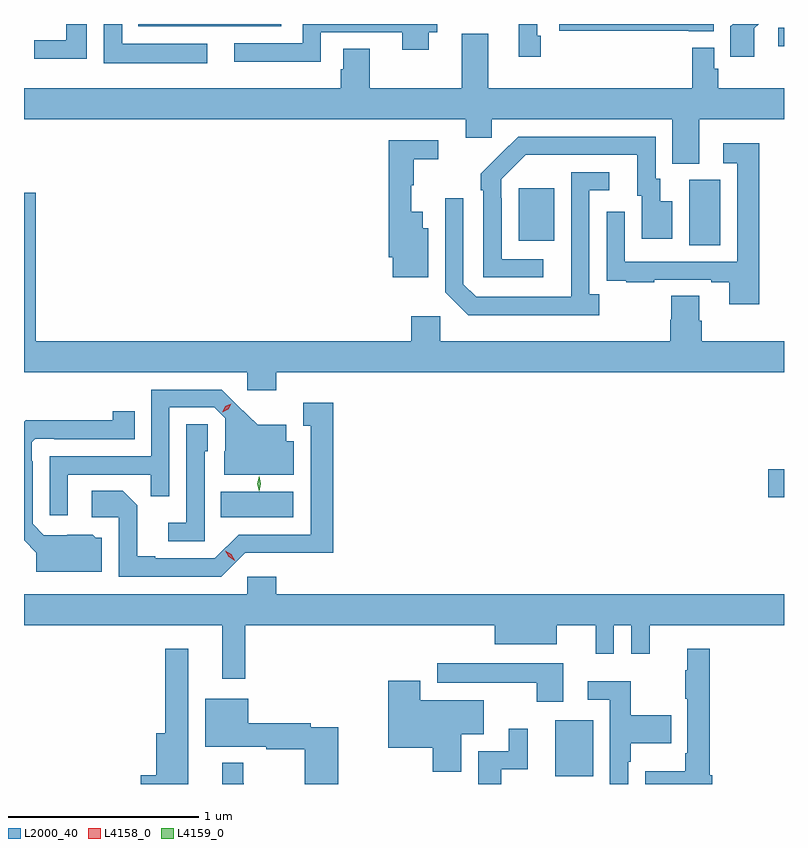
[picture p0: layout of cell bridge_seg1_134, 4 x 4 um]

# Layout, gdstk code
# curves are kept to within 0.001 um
import gdstk
lib = gdstk.Library(unit=1e-6, precision=1e-09)
def R(c, l, rs):  # rectangles x0, y0, x1, y1
    for r in rs: c.add(gdstk.rectangle(r[:2], r[2:], *l))
def P(c, l, *ps):  # polygons
    for p in ps: c.add(gdstk.Polygon(p, *l))
L2000_40 = (2000, 40)
L4158_0 = (4158, 0)
L4159_0 = (4159, 0)

bridge_seg1_134 = lib.new_cell('bridge_seg1_134')
R(bridge_seg1_134, L2000_40, [(375.335,573.581,375.535,573.877), (373.576,574.946,373.957,575.08), (376.458,575.051,376.54,575.198), (376.04,576.376,376.204,576.72), (375.143,576.401,375.331,576.676), (376.509,577.423,376.54,577.521), (373.141,577.53,373.893,577.541)])
P(bridge_seg1_134, L2000_40, [(374.103,577.497),(374.531,577.497),(374.531,577.406),(374.671,577.406),(374.671,577.497),(374.716,577.497),(374.716,577.541),(374.006,577.541),(374.006,577.44),(373.647,577.44),(373.647,577.343),(374.103,577.343)],
  [(376.384,577.519),(376.406,577.541),(376.269,577.541),(376.258,577.53),(376.258,577.368),(376.384,577.368)],
  [(376.171,577.541),(375.356,577.541),(375.356,577.506),(376.038,577.506),(376.038,577.502),(376.171,577.502)],
  [(375.26,577.48),(375.24,577.48),(375.24,577.541),(375.144,577.541),(375.144,577.368),(375.26,577.368)],
  [(372.87,577.541),(372.762,577.541),(372.762,577.455),(372.594,577.455),(372.594,577.358),(372.87,577.358)],
  [(373.504,577.438),(373.056,577.438),(373.056,577.541),(372.96,577.541),(372.96,577.334),(373.504,577.334)],
  [(376.093,577.04),(376.54,577.04),(376.54,577.204),(376.193,577.204),(376.193,577.305),(376.173,577.305),(376.173,577.417),(376.057,577.417),(376.057,577.204),(374.983,577.204),(374.983,577.489),(374.843,577.489),(374.843,577.204),(374.359,577.204),(374.359,577.412),(374.219,577.412),(374.219,577.302),(374.207,577.302),(374.207,577.204),(372.54,577.204),(372.54,577.04),(374.864,577.04),(374.864,576.942),(375.003,576.942),(375.003,577.04),(375.953,577.04),(375.953,576.805),(376.093,576.805)],
  [(375.274,576.303),(375.054,576.303),(375.054,576.623),(375.051,576.623),(375.051,576.723),(375.18,576.852),(375.767,576.852),(375.767,576.636),(375.791,576.636),(375.791,576.411),(375.952,576.411),(375.952,576.607),(375.889,576.607),(375.889,576.726),(375.864,576.726),(375.864,576.948),(375.14,576.948),(374.943,576.753),(374.943,576.665),(374.958,576.665),(374.958,576.207),(375.274,576.207)],
  [(374.668,576.466),(374.638,576.466),(374.638,576.553),(374.579,576.553),(374.579,576.693),(374.59,576.693),(374.59,576.829),(374.719,576.829),(374.719,576.93),(374.461,576.93),(374.461,576.313),(374.48,576.313),(374.48,576.209),(374.668,576.209)],
  [(376.409,576.913),(376.221,576.913),(376.221,576.807),(376.293,576.807),(376.293,576.291),(375.702,576.291),(375.702,576.553),(375.606,576.553),(375.606,576.298),(375.607,576.298),(375.607,576.189),(375.709,576.189),(375.709,576.183),(375.857,576.183),(375.857,576.195),(376.157,576.195),(376.157,576.183),(376.253,576.183),(376.253,576.066),(376.409,576.066)],
  [(375.568,576.118),(375.516,576.118),(375.516,576.666),(375.619,576.666),(375.619,576.762),(375.42,576.762),(375.419,576.105),(374.919,576.105),(374.853,576.171),(374.853,576.625),(374.757,576.625),(374.757,576.129),(374.878,576.008),(375.568,576.008)],
  [(373.868,575.708),(376.54,575.708),(376.54,575.872),(376.106,575.872),(376.106,575.978),(376.093,575.978),(376.093,576.11),(375.946,576.11),(375.946,575.985),(375.941,575.985),(375.941,575.872),(374.73,575.872),(374.73,576.004),(374.579,576.004),(374.579,575.872),(372.602,575.872),(372.602,576.652),(372.54,576.652),(372.54,575.708),(373.716,575.708),(373.716,575.613),(373.868,575.613)],
  [(372.771,575.169),(373.207,575.169),(373.207,575.056),(373.305,575.056),(373.305,575.523),(373.542,575.523),(373.599,575.466),(373.599,575.292),(373.595,575.292),(373.595,575.168),(373.96,575.168),(373.96,575.344),(373.921,575.344),(373.921,575.431),(373.769,575.431),(373.582,575.616),(373.209,575.616),(373.209,575.265),(372.675,575.265),(372.675,574.956),(372.771,574.956)],
  [(373.704,574.758),(374.167,574.757),(374.167,575.548),(374.009,575.548),(374.009,575.427),(374.048,575.427),(374.048,574.854),(373.671,574.854),(373.545,574.728),(373.231,574.728),(373.231,574.741),(373.137,574.741),(373.137,575.008),(373.061,575.084),(372.897,575.084),(372.897,574.944),(373.038,574.944),(373.038,574.632),(373.578,574.632)],
  [(372.949,574.836),(372.918,574.836),(372.902,574.852),(372.645,574.851),(372.585,574.911),(372.585,575.24),(372.582,575.24),(372.582,575.34),(372.6,575.358),(372.7,575.358),(372.7,575.355),(373.124,575.355),(373.124,575.503),(373.006,575.503),(373.006,575.456),(372.548,575.455),(372.54,575.447),(372.54,574.823),(372.605,574.758),(372.605,574.658),(372.949,574.658)],
  [(373.491,575.292),(373.506,575.292),(373.506,575.435),(373.395,575.435),(373.395,574.915),(373.299,574.915),(373.299,574.818),(373.491,574.818)],
  [(373.705,574.376),(375.017,574.376),(375.017,574.277),(375.343,574.277),(375.343,574.376),(375.548,574.376),(375.548,574.227),(375.645,574.227),(375.645,574.376),(375.735,574.376),(375.735,574.227),(375.833,574.227),(375.833,574.376),(376.54,574.376),(376.54,574.54),(373.868,574.54),(373.868,574.633),(373.716,574.633),(373.716,574.54),(372.54,574.54),(372.54,574.376),(373.583,574.376),(373.583,574.095),(373.705,574.095)],
  [(373.405,574.252),(373.284,574.252),(373.284,573.808),(373.235,573.808),(373.235,573.586),(373.154,573.586),(373.154,573.541),(373.405,573.541)],
  [(376.162,573.587),(376.148,573.587),(376.148,574.252),(376.031,574.252),(376.031,574.139),(376.02,574.139),(376.02,573.991),(376.032,573.991),(376.032,573.703),(376.02,573.703),(376.02,573.607),(375.809,573.607),(375.809,573.541),(376.162,573.541)],
  [(375.379,574.177),(374.715,574.177),(374.715,574.073),(375.239,574.073),(375.239,573.975),(375.379,573.975)],
  [(374.842,573.803),(374.959,573.803),(374.959,573.982),(374.626,573.982),(374.626,574.084),(374.456,574.084),(374.456,573.731),(374.69,573.731),(374.69,573.606),(374.842,573.606)],
  [(375.72,573.659),(375.733,573.659),(375.733,573.755),(375.947,573.755),(375.947,573.903),(375.733,573.903),(375.733,574.081),(375.507,574.081),(375.507,573.984),(375.624,573.984),(375.624,573.541),(375.72,573.541)],
  [(374.195,573.84),(374.048,573.84),(374.048,573.86),(373.72,573.86),(373.72,573.991),(373.493,573.991),(373.493,573.737),(373.816,573.737),(373.816,573.724),(374.017,573.724),(374.017,573.541),(374.195,573.541)],
  [(375.052,573.618),(375.19,573.618),(375.19,573.832),(375.092,573.832),(375.092,573.714),(374.93,573.714),(374.93,573.541),(375.052,573.541)],
  [(373.697,573.545),(373.694,573.545),(373.694,573.652),(373.583,573.652),(373.583,573.541),(373.697,573.541)])
P(bridge_seg1_134, L4158_0, [(373.649,574.717),(373.617,574.736),(373.599,574.768),(373.599,574.769),(373.599,574.769),(373.631,574.75),(373.649,574.718),(373.649,574.717)],
  [(373.583,575.498),(373.583,575.498),(373.6,575.528),(373.631,575.543),(373.631,575.543),(373.631,575.543),(373.614,575.513),(373.584,575.498)])
P(bridge_seg1_134, L4159_0, [(373.777,575.083),(373.777,575.083),(373.767,575.122),(373.777,575.161),(373.777,575.162),(373.777,575.161),(373.787,575.122),(373.778,575.083)])

lib.write_gds('bridge_seg1_134.gds')
